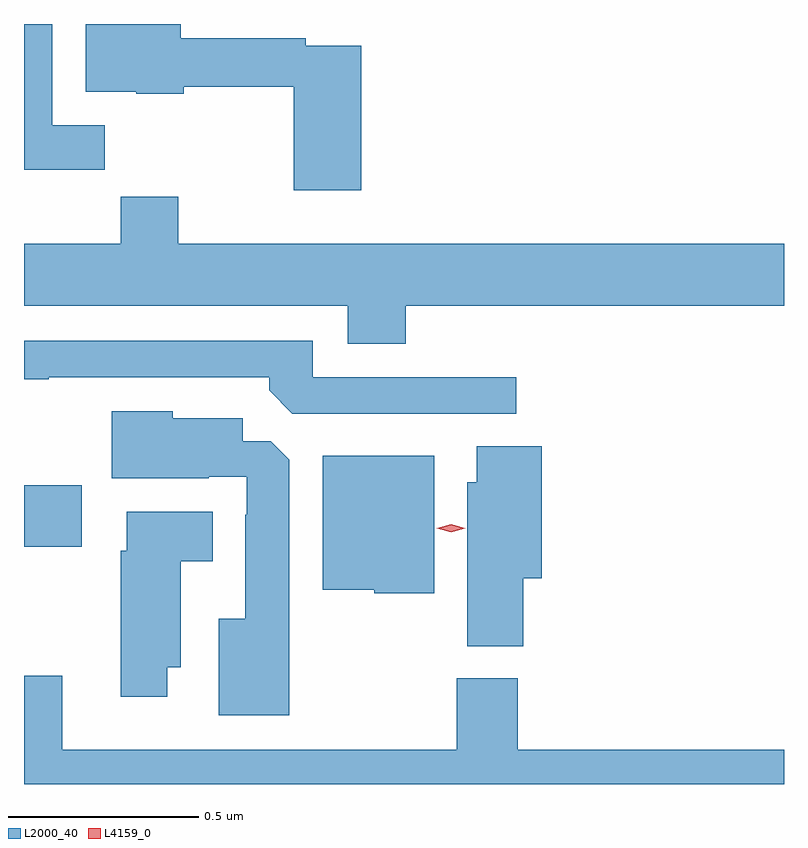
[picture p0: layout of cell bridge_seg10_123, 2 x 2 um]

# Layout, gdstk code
import gdstk
lib = gdstk.Library(unit=1e-6, precision=1e-09)
def R(c, l, rs):  # rectangles x0, y0, x1, y1
    for r in rs: c.add(gdstk.rectangle(r[:2], r[2:], *l))
def P(c, l, *ps):  # polygons
    for p in ps: c.add(gdstk.Polygon(p, *l))
L2000_40 = (2000, 40)
L4159_0 = (4159, 0)

bridge_seg10_123 = lib.new_cell('bridge_seg10_123')
R(bridge_seg10_123, L2000_40, [(388.181,1303.678,388.333,1303.84)])
P(bridge_seg10_123, L2000_40, [(389.069,1304.997),(388.922,1304.997),(388.922,1305.017),(388.594,1305.017),(388.594,1305.054),(388.343,1305.054),(388.343,1304.876),(388.476,1304.876),(388.476,1304.87),(388.602,1304.87),(388.602,1304.889),(388.891,1304.889),(388.891,1304.616),(389.069,1304.616)],
  [(388.394,1304.788),(388.255,1304.788),(388.255,1305.054),(388.181,1305.054),(388.181,1304.67),(388.394,1304.67)],
  [(389.186,1304.312),(390.181,1304.312),(390.181,1304.476),(388.587,1304.476),(388.587,1304.6),(388.435,1304.6),(388.435,1304.476),(388.181,1304.476),(388.181,1304.312),(389.033,1304.312),(389.033,1304.213),(389.186,1304.213)],
  [(389.476,1304.124),(388.941,1304.124),(388.941,1304.22),(388.181,1304.22),(388.181,1304.119),(388.246,1304.119),(388.246,1304.124),(388.826,1304.124),(388.826,1304.09),(388.887,1304.028),(389.476,1304.028)],
  [(388.879,1303.907),(388.83,1303.956),(388.756,1303.956),(388.756,1304.017),(388.572,1304.017),(388.572,1304.035),(388.412,1304.035),(388.412,1303.859),(388.667,1303.859),(388.667,1303.863),(388.767,1303.863),(388.767,1303.763),(388.763,1303.763),(388.763,1303.489),(388.694,1303.489),(388.694,1303.235),(388.879,1303.235)],
  [(389.495,1303.595),(389.543,1303.595),(389.543,1303.943),(389.372,1303.943),(389.372,1303.848),(389.348,1303.848),(389.348,1303.417),(389.495,1303.417)],
  [(389.26,1303.918),(388.967,1303.918),(388.967,1303.565),(389.103,1303.565),(389.103,1303.556),(389.26,1303.556)],
  [(388.558,1303.361),(388.594,1303.361),(388.594,1303.64),(388.678,1303.64),(388.678,1303.771),(388.451,1303.771),(388.451,1303.668),(388.436,1303.668),(388.436,1303.284),(388.558,1303.284)],
  [(390.181,1303.144),(389.48,1303.144),(389.48,1303.332),(389.32,1303.332),(389.32,1303.144),(388.282,1303.144),(388.282,1303.339),(388.181,1303.339),(388.181,1303.054),(390.181,1303.054)])
P(bridge_seg10_123, L4159_0, [(389.305,1303.717),(389.267,1303.727),(389.267,1303.727),(389.267,1303.727),(389.305,1303.737),(389.342,1303.727),(389.342,1303.727),(389.342,1303.727)])

lib.write_gds('bridge_seg10_123.gds')
